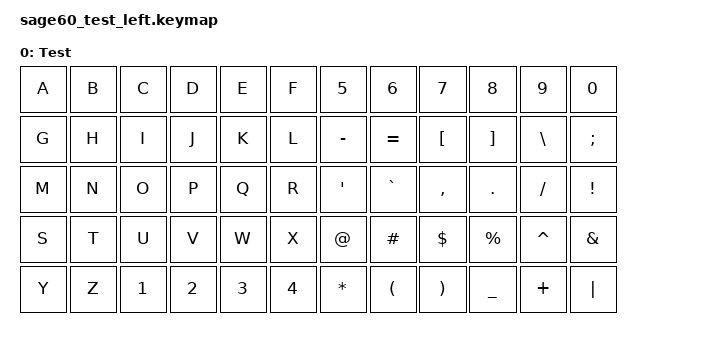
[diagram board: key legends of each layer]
/*
 * Copyright (c) 2026 Diwamoto_
 * SPDX-License-Identifier: MIT
 *
 * Board bring-up keymap: every key types a unique character, no modifiers
 * or layers, so each switch/diode can be checked in a text editor.
 *
 * Left:  R0 a-f, R1 g-l, R2 m-r, R3 s-x, R4 y z 1 2 3 4 (C0 = outer)
 * Right: R0 5-0, R1 - = [ ] \ ;, R2 ' ` , . / !,
 *        R3 @ # $ % ^ &, R4 * ( ) _ + |   (C6 = inner)
 */

#include <behaviors.dtsi>
#include <dt-bindings/zmk/keys.h>

/ {
    keymap {
        compatible = "zmk,keymap";

        test_layer {
            display-name = "Test";
            bindings = <
&kp A  &kp B  &kp C  &kp D  &kp E  &kp F      &kp N5    &kp N6    &kp N7     &kp N8   &kp N9    &kp N0
&kp G  &kp H  &kp I  &kp J  &kp K  &kp L      &kp MINUS &kp EQUAL &kp LBKT   &kp RBKT &kp BSLH  &kp SEMI
&kp M  &kp N  &kp O  &kp P  &kp Q  &kp R      &kp SQT   &kp GRAVE &kp COMMA  &kp DOT  &kp FSLH  &kp EXCL
&kp S  &kp T  &kp U  &kp V  &kp W  &kp X      &kp AT    &kp HASH  &kp DLLR   &kp PRCNT &kp CARET &kp AMPS
&kp Y  &kp Z  &kp N1 &kp N2 &kp N3 &kp N4     &kp STAR  &kp LPAR  &kp RPAR   &kp UNDER &kp PLUS  &kp PIPE
            >;
        };
    };
};
